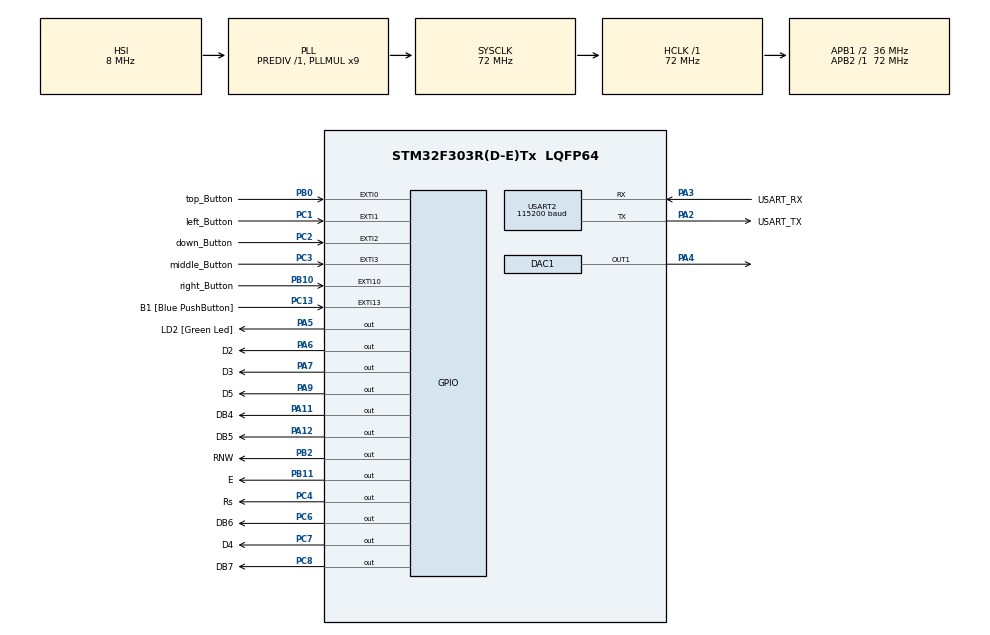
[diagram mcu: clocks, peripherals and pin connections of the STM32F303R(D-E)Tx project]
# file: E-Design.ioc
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DAC1.DAC_Trigger=DAC_TRIGGER_T2_TRGO
Dma.DAC1_CH1.0.Direction=DMA_MEMORY_TO_PERIPH
Dma.DAC1_CH1.0.Instance=DMA1_Channel3
Dma.DAC1_CH1.0.MemDataAlignment=DMA_MDATAALIGN_WORD
Dma.DAC1_CH1.0.MemInc=DMA_MINC_ENABLE
Dma.DAC1_CH1.0.Mode=DMA_CIRCULAR
Dma.DAC1_CH1.0.PeriphDataAlignment=DMA_PDATAALIGN_WORD
Dma.DAC1_CH1.0.PeriphInc=DMA_PINC_DISABLE
Dma.DAC1_CH1.0.Priority=DMA_PRIORITY_LOW
Dma.Request0=DAC1_CH1
Mcu.Family=STM32F3
Mcu.Name=STM32F303R(D-E)Tx
Mcu.Package=LQFP64
NVIC.DMA1_Channel3_IRQn=true\:0\:0\:false\:false\:true\:false\:true
NVIC.EXTI0_IRQn=true\:0\:0\:false\:false\:true\:true\:true
NVIC.EXTI15_10_IRQn=true\:0\:0\:false\:false\:true\:true\:true
NVIC.EXTI1_IRQn=true\:0\:0\:false\:false\:true\:true\:true
NVIC.EXTI2_TSC_IRQn=true\:0\:0\:false\:false\:true\:true\:true
NVIC.EXTI3_IRQn=true\:0\:0\:false\:false\:true\:true\:true
NVIC.PriorityGroup=NVIC_PRIORITYGROUP_0
NVIC.TIM2_IRQn=true\:0\:0\:false\:false\:true\:true\:true
NVIC.TIM3_IRQn=true\:0\:0\:false\:false\:true\:true\:true
NVIC.USART2_IRQn=true\:0\:0\:false\:false\:true\:true\:true
PA11.GPIO_Label=DB4
PA11.GPIO_ModeDefaultOutputPP=GPIO_MODE_OUTPUT_OD
PA11.Signal=GPIO_Output
PA12.GPIO_Label=DB5
PA12.GPIO_ModeDefaultOutputPP=GPIO_MODE_OUTPUT_OD
PA12.Signal=GPIO_Output
PA13.GPIO_Label=TMS
PA13.Mode=Serial_Wire
PA13.Signal=SYS_JTMS-SWDIO
PA14.GPIO_Label=TCK
PA14.Mode=Serial_Wire
PA14.Signal=SYS_JTCK-SWCLK
PA2.GPIO_Label=USART_TX
PA2.GPIO_Mode=GPIO_MODE_AF_PP
PA2.GPIO_PuPd=GPIO_NOPULL
PA2.GPIO_Speed=GPIO_SPEED_FREQ_LOW
PA2.Mode=Asynchronous
PA2.Signal=USART2_TX
PA3.GPIO_Label=USART_RX
PA3.GPIO_Mode=GPIO_MODE_AF_PP
PA3.GPIO_PuPd=GPIO_NOPULL
PA3.GPIO_Speed=GPIO_SPEED_FREQ_LOW
PA3.Mode=Asynchronous
PA3.Signal=USART2_RX
PA4.Signal=COMP_DAC11_group
PA5.GPIO_Label=LD2 [Green Led]
PA5.GPIO_Mode=GPIO_MODE_OUTPUT_PP
PA5.GPIO_PuPd=GPIO_NOPULL
PA5.GPIO_Speed=GPIO_SPEED_FREQ_LOW
PA5.Signal=GPIO_Output
PA6.GPIO_Label=D2
PA6.PinState=GPIO_PIN_RESET
PA6.Signal=GPIO_Output
PA7.GPIO_Label=D3
PA7.GPIO_PuPd=GPIO_NOPULL
PA7.Signal=GPIO_Output
PA9.GPIO_Label=D5
PA9.Signal=GPIO_Output
PB0.GPIO_Label=top_Button
PB0.GPIO_PuPd=GPIO_PULLUP
PB0.Signal=GPXTI0
PB10.GPIO_Label=right_Button
PB10.GPIO_PuPd=GPIO_PULLUP
PB10.Signal=GPXTI10
PB11.GPIO_Label=E
PB11.Signal=GPIO_Output
PB2.GPIO_Label=RNW
PB2.Signal=GPIO_Output
PB3.GPIO_Label=SWO
PB3.Signal=SYS_JTDO-TRACESWO
PB6.Signal=I2C1_SCL
PB7.Signal=I2C1_SDA
PC1.GPIO_Label=left_Button
PC1.GPIO_PuPd=GPIO_PULLUP
PC1.Signal=GPXTI1
PC13.GPIO_Label=B1 [Blue PushButton]
PC13.GPIO_ModeDefaultEXTI=GPIO_MODE_IT_FALLING
PC13.Signal=GPXTI13
PC14-OSC32_IN.Mode=LSE-External-Oscillator
PC14-OSC32_IN.Signal=RCC_OSC32_IN
PC15-OSC32_OUT.Mode=LSE-External-Oscillator
PC15-OSC32_OUT.Signal=RCC_OSC32_OUT
PC2.GPIO_Label=down_Button
PC2.GPIO_PuPd=GPIO_PULLUP
PC2.Signal=GPXTI2
PC3.GPIO_Label=middle_Button
PC3.GPIO_PuPd=GPIO_PULLUP
PC3.Signal=GPXTI3
PC4.GPIO_Label=Rs
PC4.Signal=GPIO_Output
PC6.GPIO_Label=DB6
PC6.GPIO_ModeDefaultOutputPP=GPIO_MODE_OUTPUT_OD
PC6.Signal=GPIO_Output
PC7.GPIO_Label=D4
PC7.Signal=GPIO_Output
PC8.GPIO_Label=DB7
PC8.GPIO_ModeDefaultOutputPP=GPIO_MODE_OUTPUT_OD
PC8.Signal=GPIO_Output
PF0-OSC_IN.Mode=HSE-External-Clock-Source
PF0-OSC_IN.Signal=RCC_OSC_IN
PF1-OSC_OUT.Signal=RCC_OSC_OUT
ProjectManager.HeapSize=0x200
ProjectManager.StackSize=0x400
ProjectManager.TargetToolchain=STM32CubeIDE
RCC.AHBFreq_Value=72000000
RCC.APB1CLKDivider=RCC_HCLK_DIV2
RCC.APB1Freq_Value=36000000
RCC.APB1TimFreq_Value=72000000
RCC.APB2Freq_Value=72000000
RCC.APB2TimFreq_Value=72000000
RCC.CortexFreq_Value=72000000
RCC.HCLKFreq_Value=72000000
RCC.HSE_VALUE=8000000
RCC.HSI_VALUE=8000000
RCC.PLLM=8
RCC.PLLMUL=RCC_PLL_MUL9
RCC.PLLN=336
RCC.PLLP=RCC_PLLP_DIV4
RCC.PLLQ=7
RCC.RCC_PLLsource_Clock_Source_FROM_HSE=RCC_HSE_PREDIV_DIV2
RCC.SYSCLKFreq_VALUE=72000000
RCC.SYSCLKSourceVirtual=RCC_SYSCLKSOURCE_PLLCLK
RCC.USBFreq_Value=72000000
SH.COMP_DAC11_group.0=DAC1_OUT1,DAC_OUT1
TIM2.AutoReloadPreload=TIM_AUTORELOAD_PRELOAD_ENABLE
TIM2.Period=100-1
TIM2.Prescaler=1-1
TIM2.TIM_MasterOutputTrigger=TIM_TRGO_UPDATE
TIM3.Period=10
TIM3.Prescaler=8000
USART2.BaudRate=115200
USART2.VirtualMode-Asynchronous=VM_ASYNC
VP_TIM2_VS_ClockSourceINT.Mode=Internal
VP_TIM3_VS_ClockSourceINT.Mode=Internal
board=NUCLEO-F303RE

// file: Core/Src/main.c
/* USER CODE BEGIN Header */
/**
 ******************************************************************************
 * @file           : main.c
 * @brief          : Main program body
 ******************************************************************************
 * @attention
 *
 * <h2><center>&copy; Copyright (c) 2022 STMicroelectronics.
 * All rights reserved.</center></h2>
 *
 * This software component is licensed by ST under BSD 3-Clause license,
 * the "License"; You may not use this file except in compliance with the
 * License. You may obtain a copy of the License at:
 *                        opensource.org/licenses/BSD-3-Clause
 *
 ******************************************************************************
 */
/* USER CODE END Header */

#include "main.h"

/* USER CODE BEGIN Includes */
#include <string.h>
#include <stdio.h>
#include <math.h>
#include <float.h>
#include "LCD_Driver.h"
#include "ADC.h"

/* USER CODE END Includes */

DAC_HandleTypeDef hdac1;
DMA_HandleTypeDef hdma_dac1_ch1;

TIM_HandleTypeDef htim2;
TIM_HandleTypeDef htim3;

UART_HandleTypeDef huart2;

void SystemClock_Config(void);
static void MX_GPIO_Init(void);
static void MX_DMA_Init(void);
static void MX_USART2_UART_Init(void);
static void MX_TIM2_Init(void);
static void MX_TIM3_Init(void);
static void MX_DAC1_Init(void);

/* USER CODE BEGIN 0 */

// *********************************************** Button Variables ************************************************************************
uint32_t lastTime = 0;

uint8_t leftButton = 0;
uint8_t rightButton = 0;
uint8_t topButton = 0;
uint8_t bottomButton = 0;
uint8_t middleButton = 0;
uint8_t buttonChange = 0;

// *******************************************End of Button Variables **************************************************************************

// ***************************************** Recieve Variables ************************************************************************
uint8_t msg[1];

// ******************************************* End of Recieve **************************************************************************
// ***************************************** Display State ************************************************************************
uint8_t displayMode = 0; //0 = Normal Operation, 1 = Write to LCD
uint8_t firstTime = 0;
// ******************************************* End of display State**************************************************************************

// *******************************************Const Messages ******************************************************************************

char outputOnMesssage[9] = "OUTPUT ON";
char outputOffMesssage[10] = "OUTPUT OFF";
char DCoutput[6] = " .   V";
char sineOutput[26] = "O: .   V,A: .   V,F:    Hz";
char pulseOutput[33] = "O: .   V,A: .   V,F:    Hz,D:   %";
// **************************************** End of Const Messages **************************************************************************

// *******************************************Menu Operation******************************************************************************

uint8_t outputMessage[12];
uint8_t requestState[10];

//0  Depth
uint8_t m_menuOnOff = 0; //0 = menuState, 1 = measure State

//1 Depth
uint8_t m_menuState = 0; //0 = Measure Mode, 1 = Signal Generation
char m_menuStateOptions[2][17] = { "Measure Mode", "Signal Generation" };
uint8_t menuState = 0; // 0 = menu mode; 1 = measure mode;

//1 Depth, 2 Index
uint8_t m_signalGenerationState = 0; //0 = Type, 1 = Parameter, 2 = Output
char m_signalGenerationOptions[3][9] = { "Type", "Parameter", "Output" };

//2 Depthh, 1 Index
uint8_t m_measureModeState = 0; //0 = DCV, 1 = DCC, 2 = ACV, 3 = ACC
char m_measureModeOptions[4][3] = { "DCV", "DCC", "ACV", "ACC" };
uint8_t measureModeState = 0; //0 = DV (DC Voltage), 1 = DI (DC Current), 2 = AC (AC Voltage) , 3 = AI (AC Current)

//3 Depth, 1 Index
uint8_t m_typeState = 0; //0 = DC, 1 = Sine, 2 = Pulse
char m_typeOptions[3][5] = { "DC", "Sine", "Pulse" };
uint8_t signalTypeState = 0; //0 = d (DC), 1 = s (Sinusiodal), 2 = p (Pulse)

//3 Depth, 2 Index
uint8_t m_parameterState = 0; //0 = Amplitude, 1 = Offset, 2 = Frequency, 3 = Duty Cycle
char m_parameterOptions[4][10] = { "Amplitude", "Offset", "Frequency",
		"Duty Cycle" };
uint8_t signalParameterState = 0; //0 = a (Amplitude), 1 = o (Offset), 2 = , 2 = f (Frequency), 3 = d (Duty Cycle)

//3 Depth, 3 Index
uint8_t m_outputState = 0; //0 = On, 1 = Off
char m_outputOptions[4][10] = { "On", "Off" };
uint8_t outputOnOff = 0; //0 = Off, 1 = On //Note that the order is different for this mode

void setMenuValue() {

}
uint8_t moveLeftRight() {
	uint8_t leftRight = 0;

	if (leftButton == 1) {
		leftRight = 1;
		leftButton = 0;
	}
	if (rightButton == 1) {
		leftRight = -1;
		rightButton = 0;
	}
	if (middleButton == 1) {
		setMenuValue();
		middleButton = 0;
	}
	return leftRight;
}
uint8_t moveUpDown() {
	uint8_t upDown = 0;

	if (topButton == 1) {
		upDown = 1;
		topButton = 0;
	}
	if (bottomButton == 1) {
		upDown = 0;
		bottomButton = 0;
	}
	return upDown;
}

uint8_t topScroll = 0;
void displayMeasurements(){
	LCD_Set_Cursor(1, 1);
	switch(measureModeState){

	case 0:
		LCD_Write_String("1.111V"); //"DCV", "DCC", "ACV", "ACC"
		topScroll = 0;
		break;
	case 1:
		LCD_Write_String("O:1.234V,A:5.678V,F:9876Hz"); //AC voltage
		topScroll = 1;
		break;
	case 2:
		LCD_Write_String("123.4mA");
		topScroll = 0;
		break;
	case 3:
		LCD_Write_String("O:123.4mA,A:567.8mA,F:9876Hz"); //AC Current
		topScroll = 1;
		break;

	default:
		break;
	}
}

void updateScreen() {

	clearDisplay();
	if (menuState == 0) { //0 is menu mode
		LCD_Set_Cursor(1, 1);
		LCD_Write_String("Menu Mode");
	} else if (menuState == 1) {
		displayMeasurements();
		LCD_Set_Cursor(2, 1);
		if (outputOnOff == 1) {
			switch (signalTypeState) {
			case 0:
				LCD_Write_String(DCoutput);//Need
				break;
			case 1:
				LCD_Write_String(sineOutput);
				break;
			case 2:
				LCD_Write_String(pulseOutput);
				break;
			default:
				LCD_Write_String("error");

			}
		} else if (outputOnOff == 0) {
			LCD_Write_String(outputOffMesssage);
		}
	}
}

// **************************************** End of Menu Operation **************************************************************************

//For UART Comms
extern int mid;
volatile int midflag;

unsigned char rxBuffer[20];
int uartCounter = 0;
int rxFlag = 0;
uint8_t interpMessage;

uint8_t writeCharFlag = 0; //0 = Do not right, 1 = write char
uint8_t setOutputType = 0; // 3 = nothing, 0 = DC, 1 = AC
uint8_t setOutputAmp = 0;
uint8_t setOutputFreq = 0;
uint8_t outputChange = 0; //1 means run output change function, 0 means do nothing
uint8_t requestStateFlag = 0;
uint8_t flagtemp = 0;
char signalType;

float value = 1;
uint32_t var;
uint32_t dac_freq = 1000; // the freq we want
uint32_t sine_val[100];
uint32_t dac_value[100];
uint32_t sine_value[100];
uint8_t dcCounter = 0; //To determine intial DC value
uint8_t acCounter = 0; //To determine intial AC value
uint8_t otherState = 0;
uint8_t kapFlag = 0;
#define PI 3.1415926
//Fsine wave = TimerFreq/Numbersamples;

void initial_sineval() { //Default, 1kHz, 1V amp, 1.2V Offset
	for (int i = 0; i < 100; i++) {
		sine_val[i] = ((float) (sin(i * 2 * PI / 100)) * ((float) 480 / 3300)
				* (4096)) + ((float) 1165 / (float) 3300) * 4096;
		dac_value[i] = sine_val[i];
	}

}
void initial_dcVal() { //Default 1.2V
	for (int i = 0; i < 100; i++) {
		dac_value[i] = ((float) 1160 / 3300) * 4096;
	}
}
void initial_pulseVal() { //Default 1.2V, 25% duty cycle
	initial_dcVal();
	for (int i = 0; i < 28; i++) {
		dac_value[i] = ((float) 2065 / 3300) * 4096;
	}
}

void SetMeasureState() { //uint8_t uartMessage[]

	//Determine Type of command
	//	if (uartMessage[2] == '$') { //Set Measure Mode Command, : @,$,AI,!\n

	if (rxBuffer[4] == 'D' && rxBuffer[5] == 'V') {
		measureModeState = 0; //Set to DC Measure State
	}
	if (rxBuffer[4] == 'A' && rxBuffer[5] == 'V') {
		measureModeState = 1; //Set to AC Measure State
	}
	if (rxBuffer[4] == 'D' && rxBuffer[5] == 'I') {
		measureModeState = 2; //Set to DC Measure State
	}
	if (rxBuffer[4] == 'A' && rxBuffer[5] == 'I') {
		measureModeState = 3; //Set to DC Measure State
	}
	if (rxBuffer[4] == 'T' && rxBuffer[5] == 'C') {
		measureModeState = 4; //Set to DC Measure State
	}
	//	}
}

uint32_t offset = 1200;
uint32_t amplitude = 1000; //peak to peak
uint32_t freq = 1000;
uint32_t dutyCycle = 25;
void setOutputOff() {
	outputOnOff = 0;
	HAL_DAC_Stop_DMA(&hdac1, DAC_CHANNEL_1);
	//clearDisplay();
	updateScreen();
	//LCD_Set_Cursor(2, 1);
	//LCD_Write_String("Output Off");
}
void setOutputOn() {
	outputOnOff = 1;

	if (signalTypeState == 0) {
		initial_dcVal();
	}

	if (signalTypeState == 1) {
		initial_sineval();
	}
	if (signalTypeState == 2) {
		initial_pulseVal();
	}

	HAL_DAC_Start_DMA(&hdac1, DAC_CHANNEL_1, dac_value, 100, DAC_ALIGN_12B_R);
	//clearDisplay();
	//LCD_Set_Cursor(2, 1);
}
void RequestState() { //This function creates a TX Response via reading the state of the system
	uint8_t response[11];

	response[0] = '@';
	response[1] = ',';
	//Measure Mode Check
	if (measureModeState == 0) {
		response[2] = 'D';
		response[3] = 'V';
	} else if (measureModeState == 1) {
		response[2] = 'A';
		response[3] = 'V';
	} else if (measureModeState == 2) {
		response[2] = 'D';
		response[3] = 'I';
	} else if (measureModeState == 3) {
		response[2] = 'A';
		response[3] = 'I';
	} else if (measureModeState == 4) {
		response[2] = 'T';
		response[3] = 'C';
	}

	response[4] = ',';
	//Signal Parameter Checks
	response[5] = rxBuffer[4];

	response[6] = ',';

	if (outputOnOff == 0) {
		response[7] = '0';
		setOutputOff();
	}
	if (outputOnOff == 1) {
		response[7] = '1';
		setOutputOn();
	}
	response[8] = ',';
	response[9] = '!';
	response[10] = '\n';

	HAL_UART_Transmit(&huart2, (uint8_t*) response, 11, 50);

}
void changeAmplitude() {
	uint32_t temp = 0;
	temp = (uint32_t) (rxBuffer[6] - 48) * 1000; //First entry
	temp = temp + (uint32_t) (rxBuffer[7] - 48) * 100;
	temp = temp + (uint32_t) (rxBuffer[8] - 48) * 10;
	temp = temp + (uint32_t) (rxBuffer[9] - 48);

	amplitude = temp;

	if (signalTypeState == 1) { //AC amplitude
		for (int i = 0; i < 100; i++) {

				dac_value[i] = ((float) (sin(i * 2 * PI / 100))
						* ((float) ((amplitude/2)-15) / 3300) * (4096))
						+ ((float) offset / (float) 3300) * 4096;
			//}

		}
	}
	if (signalTypeState == 2){
		for (int i = 0; i < 100; i++) {
			dac_value[i] = ((float) 1160 / 3300) * 4096;
		}
		for (int i = 0; i < (dutyCycle); i++) {
			dac_value[i] = ((float) (offset+amplitude) / 3300) * 4096;
		}
	}
}

void changeOffset() {

	uint32_t temp = 0;
	temp = (uint32_t) (rxBuffer[6] - 48) * 1000; //First entry
	temp = temp + (uint32_t) (rxBuffer[7] - 48) * 100;
	temp = temp + (uint32_t) (rxBuffer[8] - 48) * 10;
	temp = temp + (uint32_t) (rxBuffer[9] - 48);
	offset = temp;

	if (signalTypeState == 0) { //DC
		for (int i = 0; i < 100; i++) {
			dac_value[i] = (offset * 1.18 + i * 0.005);
		}

	}
	if (signalTypeState == 1) { //AC
		for (int i = 0; i < 100; i++) {

			dac_value[i] = ((float) (sin(i * 2 * PI / 100))
					* ((float) 470 / 3300) * (4096))
					+ ((float) offset / (float) 3300) * 4096;
		}
	}
	if (signalTypeState == 2){
		for (int i = 0; i < 100; i++) {
			dac_value[i] = ((float) offset / 3300) * 4096;
		}
		for (int i = 0; i < (dutyCycle); i++) {
			dac_value[i] = ((float) (offset+amplitude) / 3300) * 4096;
		}
	}
}
void Freq_Get_Prescalar() {
	uint32_t autoreload_val = 1;
	autoreload_val = (720000 / dac_freq) - 1;

	__HAL_TIM_SET_AUTORELOAD(&htim2, autoreload_val);

	TIM2->CR1 = 0; //disable the timer
	TIM2->EGR = TIM_EGR_UG; //reintialize all  registers
	TIM2->CR1 |= TIM_CR1_CEN; //start timer again

}
void changeFreq() {
	int temp = 0;
	//change amplitude of wave
	temp = (uint32_t) (rxBuffer[6] - 48) * 1000; //First entry
	temp = temp + (uint32_t) (rxBuffer[7] - 48) * 100;
	temp = temp + (uint32_t) (rxBuffer[8] - 48) * 10;
	temp = temp + (uint32_t) (rxBuffer[9] - 48);
	freq = temp;

	dac_freq = temp;

	Freq_Get_Prescalar();

}
void changeDutyCycle(){
	uint32_t temp = 0;
	temp = (uint32_t) (rxBuffer[6] - 48) * 1000; //First entry
	temp = temp + (uint32_t) (rxBuffer[7] - 48) * 100;
	temp = temp + (uint32_t) (rxBuffer[8] - 48) * 10;
	temp = temp + (uint32_t) (rxBuffer[9] - 48);
	dutyCycle = temp;
	for (int i = 0; i < 100; i++) {
		dac_value[i] = ((float) offset / 3300) * 4096;
	}
	for (int i = 0; i < (dutyCycle); i++) {
		dac_value[i] = ((float) (offset+amplitude) / 3300) * 4096;
	}

}
void setSignalType() {
	if (rxBuffer[6] == 'd') {
		//Set DAC in DC config
		signalTypeState = 0;
	}
	if (rxBuffer[6] == 's') {
		//Set DAC in sine config
		signalTypeState = 1;
	}
	if (rxBuffer[6] == 'p') {
		signalTypeState = 2;
		//Set DAC in pulse config
	}
	if (outputOnOff == 1){
		setOutputOn();
	}
}

void SetOutputType() {

	//@,*,m,t,!\n
	// a, o, f, d, c, t (Type, Amplitude, Offset, Frequency, Duty cycle, Temperature
	//what we work with
	////0 = t (Type), 1 = a (Amplitude), 2 = o (Offset), 3 = f (Frequency), 4 = d (Duty Cycle), 5 = c (Temperature)
	//signalParameterState
	if (rxBuffer[4] == 't') { // Set Type
		setSignalType();
		//signalTypeState
		//signalParameterState = 0;
		//HAL_UART_Transmit(&huart2, (uint8_t*) "OutPut Type is type", 19, 50);
	}
	if (rxBuffer[4] == 'a') { // Set Amplitude
		signalParameterState = 1;
		changeAmplitude();

		//HAL_UART_Transmit(&huart2, (uint8_t*) "Measure Mode is ampl", 20, 50);
	}
	if (rxBuffer[4] == 'o') { // Set Offset
		signalParameterState = 2;
		changeOffset();
		//HAL_UART_Transmit(&huart2, (uint8_t*) "Measure Mode is Of", 18, 50);
	}
	if (rxBuffer[4] == 'f') {  // Set Frequency
		signalParameterState = 3;
		changeFreq();

		//HAL_UART_Transmit(&huart2, (uint8_t*) "Measure Mode is Fr", 18, 50);
	}
	if (rxBuffer[4] == 'd') { // Set Duty Cycle
		//HAL_UART_Transmit(&huart2, (uint8_t*) "Measure Mode is DutyC", 21, 50);
		signalParameterState = 4;
		changeDutyCycle();
	}
	if (rxBuffer[4] == 'c') { // Set Temperature
		//HAL_UART_Transmit(&huart2, (uint8_t*) "Measure Mode is Temp", 20, 50);
		signalParameterState = 5;
	}
}

uint8_t uartRecieve = 0;
uint8_t measureStateFlag = 0;
void HAL_UART_RxCpltCallback(UART_HandleTypeDef *huart) {

	if (msg[0] == '@') {
		for (int x = 0; x < 20; x++) {
			rxBuffer[x] = 0; //Clear buffer on new input command
		}
		rxFlag = 1;
	}
	if (rxFlag == 1) {
		rxBuffer[uartCounter] = msg[0];
		uartCounter++;
	}
	if (msg[0] == '\n') {
		uartRecieve = 1;
		rxFlag = 0;
		uartCounter = 0;

		if (rxBuffer[2] == '$') { //Set State
			measureStateFlag = 1;
		}
		if (rxBuffer[2] == '#') { //LCD Command/Write Char
			writeCharFlag = 1; //@,#,1,H,!\n -> Display H on LCD
			displayMode = 1;
		}
		if (rxBuffer[2] == '^') {
			kapFlag = 1;
			displayMode = 0;

		}
		if (rxBuffer[2] == '*') //REQUEST STATUS
		{
			displayMode = 0;
			if (rxBuffer[6] == '0') {
				outputOnOff = 0;
			}
			if (rxBuffer[6] == '1') {
				outputOnOff = 1;
				if (rxBuffer[4] == 'd') {
					signalTypeState = 0;
				}
				if (rxBuffer[4] == 's') {
					signalTypeState = 1;
				}
				if (rxBuffer[4] == 'p') {
					signalTypeState = 2;
				}
			}
			requestStateFlag = 1;
			//RequestState(); // Request Format: @,*,s,0,!\n Response Format: @,DV,p,1,!\n

			if (rxBuffer[4] == 'm') {
				if (measureModeState == 0) //DC State
				{
					//DC_Measure();
				}
				if (measureModeState == 1) //AC State, Request format @,*,m,f,!\n
				{
					//AC_Measure(rxBuffer);
				}
			}
			uartRecieve = 1;
		}
	}

	HAL_UART_Receive_IT(&huart2, (uint8_t*) msg, 1);
}

void debugLEDs() {
	if (menuState == 0) {
		HAL_GPIO_WritePin(GPIOA, GPIO_PIN_6, 1);
		HAL_GPIO_WritePin(GPIOA, GPIO_PIN_7, 0);
	} else if (menuState == 1) {
		HAL_GPIO_WritePin(GPIOA, GPIO_PIN_6, 0);
		HAL_GPIO_WritePin(GPIOA, GPIO_PIN_7, 1);
	}
	if (measureModeState == 2 || measureModeState == 3){ //Display if the system is in current measurement mode
		HAL_GPIO_WritePin(GPIOC, GPIO_PIN_7, 1);
	} else{
		HAL_GPIO_WritePin(GPIOC, GPIO_PIN_7, 0);
	}
	if (outputOnOff == 0) { //1 for output on.
		HAL_GPIO_WritePin(GPIOA, GPIO_PIN_9, 0);
	} else if (outputOnOff == 1) {
		HAL_GPIO_WritePin(GPIOA, GPIO_PIN_9, 1);
	}
}

void HAL_GPIO_EXTI_Callback(uint16_t GPIO_Pin) {
	/* Prevent unused argument(s) compilation warning */
	UNUSED(GPIO_Pin);
	displayMode = 0;
	firstTime = 0;

	if (GPIO_Pin == GPIO_PIN_1 && HAL_GetTick() - lastTime > 100) { //Left Button
		lastTime = HAL_GetTick();
		leftButton = 1;
	}
	if (GPIO_Pin == GPIO_PIN_10 && HAL_GetTick() - lastTime > 100) { //Right Button
		lastTime = HAL_GetTick(); //D4
		rightButton = 1;
	}
	if (GPIO_Pin == GPIO_PIN_3 && HAL_GetTick() - lastTime > 50) { //Middle Button
		lastTime = HAL_GetTick(); //D4
		menuState = 1 - menuState;
		middleButton = 1;
	}
	if (GPIO_Pin == GPIO_PIN_0 && HAL_GetTick() - lastTime > 100) { //Top Button
		lastTime = HAL_GetTick(); //D3
		topButton = 1;
	}
	if (GPIO_Pin == GPIO_PIN_2 && HAL_GetTick() - lastTime > 100) { //Bottom Button
		lastTime = HAL_GetTick(); //D4
		bottomButton = 1;
	}

	buttonChange = 1;
}

/* USER CODE END 0 */

int main(void) {

	/* MCU Configuration--------------------------------------------------------*/

	/* Reset of all peripherals, Initializes the Flash interface and the Systick. */
	HAL_Init();

	/* Configure the system clock */
	SystemClock_Config();

	/* Initialize all configured peripherals */
	MX_GPIO_Init();
	MX_DMA_Init();
	MX_USART2_UART_Init();
	MX_TIM2_Init();
	MX_TIM3_Init();
	MX_DAC1_Init();
	/* USER CODE BEGIN 2 */

	HAL_UART_Transmit(&huart2, (uint8_t*) "@,19303688,!\n", 13, 50);
	HAL_UART_Receive_IT(&huart2, (uint8_t*) msg, 1);

	lcd_Init();

	HAL_TIM_Base_Start(&htim2);
	Freq_Get_Prescalar();

	//char test[] = "test";

	updateScreen();
	lastTime = HAL_GetTick();
	/* USER CODE END 2 */

	/* Infinite loop */
	/* USER CODE BEGIN WHILE */
	while (1) {

		if (uartRecieve == 1){
			updateScreen();
			uartRecieve = 0;
		}

		if (measureStateFlag == 1 ){
			//SetMeasureState(rxBuffer); //Input Format: : @,$,AV,!\n. No Response
			SetMeasureState();
			updateScreen();
			measureStateFlag = 0;
		}

		debugLEDs();

		//if(topScroll == 1){

		//}

		if (kapFlag == 1) {
			SetOutputType();
			kapFlag = 0;
		}
		if (requestStateFlag == 1) {
			RequestState();
			requestStateFlag = 0;
		}

		if (buttonChange == 1) {
			updateScreen();
			uartRecieve = 0;
			buttonChange = 0;
		}
	}
	//HAL_DAC_SetValue(&hdac1, DAC_CHANNEL_1, DAC_ALIGN_12B_R, var);

	/* USER CODE END WHILE */

}

void SystemClock_Config(void) {
	RCC_OscInitTypeDef RCC_OscInitStruct = { 0 };
	RCC_ClkInitTypeDef RCC_ClkInitStruct = { 0 };
	RCC_PeriphCLKInitTypeDef PeriphClkInit = { 0 };

	/** Initializes the CPU, AHB and APB busses clocks
	 */
	RCC_OscInitStruct.OscillatorType = RCC_OSCILLATORTYPE_HSI;
	RCC_OscInitStruct.HSIState = RCC_HSI_ON;
	RCC_OscInitStruct.HSICalibrationValue = RCC_HSICALIBRATION_DEFAULT;
	RCC_OscInitStruct.PLL.PLLState = RCC_PLL_ON;
	RCC_OscInitStruct.PLL.PLLSource = RCC_PLLSOURCE_HSI;
	RCC_OscInitStruct.PLL.PLLMUL = RCC_PLL_MUL9;
	RCC_OscInitStruct.PLL.PREDIV = RCC_PREDIV_DIV1;
	if (HAL_RCC_OscConfig(&RCC_OscInitStruct) != HAL_OK) {
		Error_Handler();
	}
	/** Initializes the CPU, AHB and APB busses clocks
	 */
	RCC_ClkInitStruct.ClockType = RCC_CLOCKTYPE_HCLK | RCC_CLOCKTYPE_SYSCLK
			| RCC_CLOCKTYPE_PCLK1 | RCC_CLOCKTYPE_PCLK2;
	RCC_ClkInitStruct.SYSCLKSource = RCC_SYSCLKSOURCE_PLLCLK;
	RCC_ClkInitStruct.AHBCLKDivider = RCC_SYSCLK_DIV1;
	RCC_ClkInitStruct.APB1CLKDivider = RCC_HCLK_DIV2;
	RCC_ClkInitStruct.APB2CLKDivider = RCC_HCLK_DIV1;

	if (HAL_RCC_ClockConfig(&RCC_ClkInitStruct, FLASH_LATENCY_2) != HAL_OK) {
		Error_Handler();
	}
	PeriphClkInit.PeriphClockSelection = RCC_PERIPHCLK_USART2
			| RCC_PERIPHCLK_TIM2 | RCC_PERIPHCLK_TIM34;
	PeriphClkInit.Usart2ClockSelection = RCC_USART2CLKSOURCE_PCLK1;
	PeriphClkInit.Tim2ClockSelection = RCC_TIM2CLK_HCLK;
	PeriphClkInit.Tim34ClockSelection = RCC_TIM34CLK_HCLK;
	if (HAL_RCCEx_PeriphCLKConfig(&PeriphClkInit) != HAL_OK) {
		Error_Handler();
	}
}

static void MX_DAC1_Init(void) {

	DAC_ChannelConfTypeDef sConfig = { 0 };

	/** DAC Initialization
	 */
	hdac1.Instance = DAC1;
	if (HAL_DAC_Init(&hdac1) != HAL_OK) {
		Error_Handler();
	}
	/** DAC channel OUT1 config
	 */
	sConfig.DAC_Trigger = DAC_TRIGGER_T2_TRGO;
	sConfig.DAC_OutputBuffer = DAC_OUTPUTBUFFER_ENABLE;
	if (HAL_DAC_ConfigChannel(&hdac1, &sConfig, DAC_CHANNEL_1) != HAL_OK) {
		Error_Handler();
	}

}

static void MX_TIM2_Init(void) {

	TIM_ClockConfigTypeDef sClockSourceConfig = { 0 };
	TIM_MasterConfigTypeDef sMasterConfig = { 0 };

	htim2.Instance = TIM2;
	htim2.Init.Prescaler = 1 - 1;
	htim2.Init.CounterMode = TIM_COUNTERMODE_UP;
	htim2.Init.Period = 100 - 1;
	htim2.Init.ClockDivision = TIM_CLOCKDIVISION_DIV1;
	htim2.Init.AutoReloadPreload = TIM_AUTORELOAD_PRELOAD_ENABLE;
	if (HAL_TIM_Base_Init(&htim2) != HAL_OK) {
		Error_Handler();
	}
	sClockSourceConfig.ClockSource = TIM_CLOCKSOURCE_INTERNAL;
	if (HAL_TIM_ConfigClockSource(&htim2, &sClockSourceConfig) != HAL_OK) {
		Error_Handler();
	}
	sMasterConfig.MasterOutputTrigger = TIM_TRGO_UPDATE;
	sMasterConfig.MasterSlaveMode = TIM_MASTERSLAVEMODE_DISABLE;
	if (HAL_TIMEx_MasterConfigSynchronization(&htim2, &sMasterConfig)
			!= HAL_OK) {
		Error_Handler();
	}

}

static void MX_TIM3_Init(void) {

	TIM_ClockConfigTypeDef sClockSourceConfig = { 0 };
	TIM_MasterConfigTypeDef sMasterConfig = { 0 };

	htim3.Instance = TIM3;
	htim3.Init.Prescaler = 8000;
	htim3.Init.CounterMode = TIM_COUNTERMODE_UP;
	htim3.Init.Period = 10;
	htim3.Init.ClockDivision = TIM_CLOCKDIVISION_DIV1;
	htim3.Init.AutoReloadPreload = TIM_AUTORELOAD_PRELOAD_DISABLE;
	if (HAL_TIM_Base_Init(&htim3) != HAL_OK) {
		Error_Handler();
	}
	sClockSourceConfig.ClockSource = TIM_CLOCKSOURCE_INTERNAL;
	if (HAL_TIM_ConfigClockSource(&htim3, &sClockSourceConfig) != HAL_OK) {
		Error_Handler();
	}
	sMasterConfig.MasterOutputTrigger = TIM_TRGO_RESET;
	sMasterConfig.MasterSlaveMode = TIM_MASTERSLAVEMODE_DISABLE;
	if (HAL_TIMEx_MasterConfigSynchronization(&htim3, &sMasterConfig)
			!= HAL_OK) {
		Error_Handler();
	}

}

static void MX_USART2_UART_Init(void) {

	huart2.Instance = USART2;
	huart2.Init.BaudRate = 115200;
	huart2.Init.WordLength = UART_WORDLENGTH_8B;
	huart2.Init.StopBits = UART_STOPBITS_1;
	huart2.Init.Parity = UART_PARITY_NONE;
	huart2.Init.Mode = UART_MODE_TX_RX;
	huart2.Init.HwFlowCtl = UART_HWCONTROL_NONE;
	huart2.Init.OverSampling = UART_OVERSAMPLING_16;
	huart2.Init.OneBitSampling = UART_ONE_BIT_SAMPLE_DISABLE;
	huart2.AdvancedInit.AdvFeatureInit = UART_ADVFEATURE_NO_INIT;
	if (HAL_UART_Init(&huart2) != HAL_OK) {
		Error_Handler();
	}

}

static void MX_DMA_Init(void) {

	/* DMA controller clock enable */
	__HAL_RCC_DMA1_CLK_ENABLE();

	/* DMA interrupt init */
	/* DMA1_Channel3_IRQn interrupt configuration */
	HAL_NVIC_SetPriority(DMA1_Channel3_IRQn, 0, 0);
	HAL_NVIC_EnableIRQ(DMA1_Channel3_IRQn);

}

static void MX_GPIO_Init(void) {
	GPIO_InitTypeDef GPIO_InitStruct = { 0 };

	/* GPIO Ports Clock Enable */
	__HAL_RCC_GPIOC_CLK_ENABLE();
	__HAL_RCC_GPIOF_CLK_ENABLE();
	__HAL_RCC_GPIOA_CLK_ENABLE();
	__HAL_RCC_GPIOB_CLK_ENABLE();

	/*Configure GPIO pin Output Level */
	HAL_GPIO_WritePin(GPIOA,
			LD2_Pin | D2_Pin | D3_Pin | D5_Pin | DB4_Pin | DB5_Pin, GPIO_PIN_RESET);

	/*Configure GPIO pin Output Level */
	HAL_GPIO_WritePin(GPIOC, Rs_Pin | DB6_Pin | D4_Pin | DB7_Pin,
			GPIO_PIN_RESET);

	/*Configure GPIO pin Output Level */
	HAL_GPIO_WritePin(GPIOB, RNW_Pin | E_Pin, GPIO_PIN_RESET);

	/*Configure GPIO pin : B1_Pin */
	GPIO_InitStruct.Pin = B1_Pin;
	GPIO_InitStruct.Mode = GPIO_MODE_IT_FALLING;
	GPIO_InitStruct.Pull = GPIO_NOPULL;
	HAL_GPIO_Init(B1_GPIO_Port, &GPIO_InitStruct);

	/*Configure GPIO pins : left_Button_Pin down_Button_Pin middle_Button_Pin */
	GPIO_InitStruct.Pin = left_Button_Pin | down_Button_Pin | middle_Button_Pin;
	GPIO_InitStruct.Mode = GPIO_MODE_IT_RISING;
	GPIO_InitStruct.Pull = GPIO_PULLUP;
	HAL_GPIO_Init(GPIOC, &GPIO_InitStruct);

	/*Configure GPIO pins : LD2_Pin D2_Pin D3_Pin D5_Pin */
	GPIO_InitStruct.Pin = LD2_Pin | D2_Pin | D3_Pin | D5_Pin;
	GPIO_InitStruct.Mode = GPIO_MODE_OUTPUT_PP;
	GPIO_InitStruct.Pull = GPIO_NOPULL;
	GPIO_InitStruct.Speed = GPIO_SPEED_FREQ_LOW;
	HAL_GPIO_Init(GPIOA, &GPIO_InitStruct);

	/*Configure GPIO pins : Rs_Pin D4_Pin */
	GPIO_InitStruct.Pin = Rs_Pin | D4_Pin;
	GPIO_InitStruct.Mode = GPIO_MODE_OUTPUT_PP;
	GPIO_InitStruct.Pull = GPIO_NOPULL;
	GPIO_InitStruct.Speed = GPIO_SPEED_FREQ_LOW;
	HAL_GPIO_Init(GPIOC, &GPIO_InitStruct);

	/*Configure GPIO pins : top_Button_Pin right_Button_Pin */
	GPIO_InitStruct.Pin = top_Button_Pin | right_Button_Pin;
	GPIO_InitStruct.Mode = GPIO_MODE_IT_RISING;
	GPIO_InitStruct.Pull = GPIO_PULLUP;
	HAL_GPIO_Init(GPIOB, &GPIO_InitStruct);

	/*Configure GPIO pins : RNW_Pin E_Pin */
	GPIO_InitStruct.Pin = RNW_Pin | E_Pin;
	GPIO_InitStruct.Mode = GPIO_MODE_OUTPUT_PP;
	GPIO_InitStruct.Pull = GPIO_NOPULL;
	GPIO_InitStruct.Speed = GPIO_SPEED_FREQ_LOW;
	HAL_GPIO_Init(GPIOB, &GPIO_InitStruct);

	/*Configure GPIO pins : DB6_Pin DB7_Pin */
	GPIO_InitStruct.Pin = DB6_Pin | DB7_Pin;
	GPIO_InitStruct.Mode = GPIO_MODE_OUTPUT_OD;
	GPIO_InitStruct.Pull = GPIO_NOPULL;
	GPIO_InitStruct.Speed = GPIO_SPEED_FREQ_LOW;
	HAL_GPIO_Init(GPIOC, &GPIO_InitStruct);

	/*Configure GPIO pins : DB4_Pin DB5_Pin */
	GPIO_InitStruct.Pin = DB4_Pin | DB5_Pin;
	GPIO_InitStruct.Mode = GPIO_MODE_OUTPUT_OD;
	GPIO_InitStruct.Pull = GPIO_NOPULL;
	GPIO_InitStruct.Speed = GPIO_SPEED_FREQ_LOW;
	HAL_GPIO_Init(GPIOA, &GPIO_InitStruct);

	/*Configure GPIO pins : PB6 PB7 */
	GPIO_InitStruct.Pin = GPIO_PIN_6 | GPIO_PIN_7;
	GPIO_InitStruct.Mode = GPIO_MODE_AF_OD;
	GPIO_InitStruct.Pull = GPIO_PULLUP;
	GPIO_InitStruct.Speed = GPIO_SPEED_FREQ_HIGH;
	GPIO_InitStruct.Alternate = GPIO_AF4_I2C1;
	HAL_GPIO_Init(GPIOB, &GPIO_InitStruct);

	/* EXTI interrupt init*/
	HAL_NVIC_SetPriority(EXTI0_IRQn, 0, 0);
	HAL_NVIC_EnableIRQ(EXTI0_IRQn);

	HAL_NVIC_SetPriority(EXTI1_IRQn, 0, 0);
	HAL_NVIC_EnableIRQ(EXTI1_IRQn);

	HAL_NVIC_SetPriority(EXTI2_TSC_IRQn, 0, 0);
	HAL_NVIC_EnableIRQ(EXTI2_TSC_IRQn);

	HAL_NVIC_SetPriority(EXTI3_IRQn, 0, 0);
	HAL_NVIC_EnableIRQ(EXTI3_IRQn);

	HAL_NVIC_SetPriority(EXTI15_10_IRQn, 0, 0);
	HAL_NVIC_EnableIRQ(EXTI15_10_IRQn);

}

void Error_Handler(void) {
}

/************************ (C) COPYRIGHT STMicroelectronics *****END OF FILE****/
